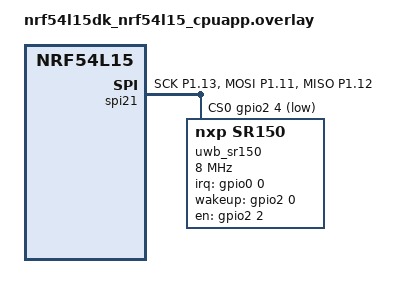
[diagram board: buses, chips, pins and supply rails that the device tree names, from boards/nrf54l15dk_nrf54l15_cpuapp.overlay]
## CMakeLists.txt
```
#
# Copyright (c) 2026 Nordic Semiconductor ASA
#
# SPDX-License-Identifier: LicenseRef-Nordic-5-Clause
#
# SR150 UWB ranging demo (Controlee / Responder) on the NXP middleware port in
# drivers/uwb/nxp (Zephyr module ncs-door-lock-and-access-control).
# The NXP package must be extracted to drivers/uwb/nxp/uwbiot-top, see
# drivers/uwb/nxp/README.md.

cmake_minimum_required(VERSION 3.20.0)

find_package(Zephyr REQUIRED HINTS $ENV{ZEPHYR_BASE})
project(demo_ranging_controlee)

target_sources(app PRIVATE src/main.c)
```

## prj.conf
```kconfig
#
# Copyright (c) 2026 Nordic Semiconductor ASA
#
# SPDX-License-Identifier: LicenseRef-Nordic-5-Clause
#
# demo_ranging_controlee (Controlee / Responder): SR150 ranging demo on the NXP middleware port.

# Basic system
CONFIG_SERIAL=y
CONFIG_CONSOLE=y
CONFIG_UART_CONSOLE=y
CONFIG_ASSERT=y
CONFIG_RESET_ON_FATAL_ERROR=n
CONFIG_HEAP_MEM_POOL_SIZE=16384
CONFIG_MAIN_STACK_SIZE=8192
CONFIG_SYSTEM_WORKQUEUE_STACK_SIZE=3072
CONFIG_MPU_STACK_GUARD=y

# Logging
CONFIG_LOG=y
CONFIG_LOG_BACKEND_UART=n
CONFIG_LOG_BACKEND_RTT=y
CONFIG_USE_SEGGER_RTT=y
CONFIG_LOG_BUFFER_SIZE=4096
CONFIG_LOG_INFO_COLOR_GREEN=y

# NXP SR150 UWB middleware (drivers/uwb/nxp)
CONFIG_UWB_NXP=y
CONFIG_UWB_NXP_LOG_LEVEL=3
CONFIG_UWB_NXP_PLATFORM_LOG_LEVEL=3
```

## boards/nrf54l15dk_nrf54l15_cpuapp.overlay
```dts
/*
 * Copyright (c) 2026 Nordic Semiconductor ASA
 *
 * SPDX-License-Identifier: LicenseRef-Nordic-5-Clause
 */

&pinctrl {
	spi21_default: spi21_default {
		group1 {
			psels = <NRF_PSEL(SPIM_SCK, 1, 13)>,
				<NRF_PSEL(SPIM_MOSI, 1, 11)>,
				<NRF_PSEL(SPIM_MISO, 1, 12)>;
		};
	};

	spi21_sleep: spi21_sleep {
		group1 {
			psels = <NRF_PSEL(SPIM_SCK, 1, 13)>,
				<NRF_PSEL(SPIM_MOSI, 1, 11)>,
				<NRF_PSEL(SPIM_MISO, 1, 12)>;
			low-power-enable;
		};
	};
};

&spi21 {
	compatible = "nordic,nrf-spim";
	status = "okay";

	/* Chip select of the SR150 is entry 0 (reg = <0>) */
	cs-gpios = <&gpio2 4 GPIO_ACTIVE_LOW>;
	pinctrl-0 = <&spi21_default>;
	pinctrl-1 = <&spi21_sleep>;
	pinctrl-names = "default", "sleep";

	uwb_sr150: uwb-sr150@0 {
		compatible = "nxp,sr150";
		reg = <0>;
		spi-max-frequency = <DT_FREQ_M(8)>;
		spi-cs-setup-delay-ns = <1000>;
		spi-cs-hold-delay-ns = <1000>;
		irq-gpios = <&gpio0 0 GPIO_ACTIVE_HIGH>;
		wakeup-gpios = <&gpio2 0 GPIO_ACTIVE_HIGH>;
		en-gpios = <&gpio2 2 GPIO_ACTIVE_HIGH>;
		status = "okay";
	};
};

/* P1.13 is the SPI clock */
&button0 {
	status = "disabled";
};

&gpio0 {
	status = "okay";
};

&gpio2 {
	status = "okay";
};
```

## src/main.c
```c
/*
 * Copyright (c) 2026 Nordic Semiconductor ASA
 *
 * SPDX-License-Identifier: LicenseRef-Nordic-5-Clause
 *
 * demo_ranging_controlee: Controlee / Responder, Static STS two-way ranging (DS-TWR, unicast)
 * with the SR150, built on the NXP middleware port in drivers/uwb/nxp.
 * Short MAC addresses: this device 0x2222, peer 0x1111.
 */

#include <zephyr/kernel.h>
#include <zephyr/logging/log.h>

/* NXP UWB IoT middleware, see drivers/uwb/nxp */
#include "UwbApi.h"
#include "UwbApi_Types.h"
#include "PrintUtility.h"
#include "uwb_types.h"
#include "uci_defs.h"
#include "nxAntennaDefine.h"

LOG_MODULE_REGISTER(demo_ranging_controlee, CONFIG_UWB_NXP_LOG_LEVEL);

#define SESSION_ID 0x11223344

static const uint8_t device_mac_addr[2] = {0x22, 0x22};
static const uint8_t dst_mac_addr[2]    = {0x11, 0x11};

static void ranging_callback(eNotificationType type, void *data)
{
	if (type != UWBD_RANGING_DATA) {
		return;
	}

	phRangingData_t *r = (phRangingData_t *)data;

	LOG_INF("RngData: seq=%u session=0x%08X int=%ums meas=%u", r->seq_ctr, r->sessionHandle,
		r->curr_range_interval, r->no_of_measurements);
	for (uint32_t i = 0; i < r->no_of_measurements && i < MAX_NUM_RESPONDERS; i++) {
		phRangingMesr_t *m = &r->ranging_meas.range_meas_twr[i];

		LOG_INF("  [%u] mac=%02X%02X status=0x%02X nLos=%u dist=%ucm "
			"az=%d.%03ddeg azFOM=%u el=%d.%03ddeg elFOM=%u slot=%u rssi=%d.%d",
			i, m->mac_addr[0], m->mac_addr[1], m->status, m->nLos, m->distance,
			TO_Q_9_7(m->aoa_azimuth), m->aoa_azimuth_FOM, TO_Q_9_7(m->aoa_elevation),
			m->aoa_elevation_FOM, m->slot_index, TO_Q_7_1(m->rssi));
	}
}

int main(void)
{
	tUWBAPI_STATUS status;
	phUwbDevInfo_t dev_info;
	uint32_t session_handle;

	LOG_INF("demo_ranging_controlee starting");

	/* The SR150 firmware image comes from the NXP package */
	status = UwbApi_Init(ranging_callback);
	if (status != UWBAPI_STATUS_OK) {
		LOG_ERR("UwbApi_Init failed: %d", status);
		return -1;
	}

	/* RF_CLK_ACCURACY_CALIB: number of registers (0x03) + CAP1, CAP2, GM CURRENT CONTROL (2 B LE each) */
	uint8_t calib_value[] = {
		0x03,
		AD_U16_TO_AU8_LE(15),
		AD_U16_TO_AU8_LE(15),
		AD_U16_TO_AU8_LE(0x21),
	};

	status = UwbApi_SetCalibration(CH_9, RF_CLK_ACCURACY_CALIB, calib_value, sizeof(calib_value));
	if (status != UWBAPI_STATUS_OK) {
		LOG_ERR("UwbApi_SetCalibration(RF_CLK_ACCURACY_CALIB) failed: %d", status);
	}

	status = UwbApi_GetDeviceInfo(&dev_info);
	if (status != UWBAPI_STATUS_OK) {
		LOG_ERR("UwbApi_GetDeviceInfo failed: %d", status);
		goto exit;
	}
	LOG_INF("UWB device: FW %u.%u.%u, MW %u.%u.%u", dev_info.fwMajor, dev_info.fwMinor,
		dev_info.fwRc, dev_info.mwMajor, dev_info.mwMinor, dev_info.mwRc);

	status = UwbApi_SessionInit(SESSION_ID, UWBD_RANGING_SESSION, &session_handle);
	if (status != UWBAPI_STATUS_OK) {
		LOG_ERR("UwbApi_SessionInit failed: %d", status);
		goto exit;
	}
	LOG_INF("Ranging session created, handle=0x%08X", session_handle);

	/* Application configuration: number of controlees and their address */
	const UWB_AppParams_List_t app_params[] = {
		UWB_SET_APP_PARAM_VALUE(UCI_PARAM_ID_NO_OF_CONTROLEES, 1),
		UWB_SET_APP_PARAM_ARRAY(UCI_PARAM_ID_DST_MAC_ADDRESS, dst_mac_addr, sizeof(dst_mac_addr)),
	};

	status = UwbApi_SetAppConfigMultipleParams(session_handle, ARRAY_SIZE(app_params), app_params);
	if (status != UWBAPI_STATUS_OK) {
		LOG_ERR("SetAppConfigMultipleParams failed: %d", status);
		goto deinit;
	}

	/* Ranging parameters */
	phRangingParams_t ranging_params = {0};

	ranging_params.deviceRole        = kUWB_DeviceRole_Responder;
	ranging_params.deviceType        = kUWB_DeviceType_Controlee;
	ranging_params.multiNodeMode     = kUWB_MultiNodeMode_UniCast;
	ranging_params.macAddrMode       = 0; /* short address */
	ranging_params.scheduledMode     = kUWB_ScheduledMode_TimeScheduled;
	ranging_params.rangingRoundUsage = kUWB_RangingRoundUsage_DS_TWR;
	ranging_params.deviceMacAddr[0]  = device_mac_addr[0];
	ranging_params.deviceMacAddr[1]  = device_mac_addr[1];

	status = UwbApi_SetRangingParams(session_handle, &ranging_params);
	if (status != UWBAPI_STATUS_OK) {
		LOG_ERR("SetRangingParams failed: %d", status);
		goto deinit;
	}

	/* Common application configuration (as demo_set_common_app_config() of the NXP demos) */
	const UWB_AppParams_List_t common_params[] = {
		UWB_SET_APP_PARAM_VALUE(UCI_PARAM_ID_SFD_ID, 2),
		UWB_SET_APP_PARAM_VALUE(UCI_PARAM_ID_SLOTS_PER_RR, 25),
		UWB_SET_APP_PARAM_VALUE(UCI_PARAM_ID_RANGING_DURATION, 200),
		UWB_SET_APP_PARAM_VALUE(UCI_PARAM_ID_STS_CONFIG, kUWB_StsConfig_StaticSts),
		UWB_SET_APP_PARAM_VALUE(UCI_PARAM_ID_NUMBER_OF_STS_SEGMENTS, 1),
		UWB_SET_APP_PARAM_VALUE(UCI_PARAM_ID_RFRAME_CONFIG, 3),
		UWB_SET_APP_PARAM_VALUE(UCI_PARAM_ID_CHANNEL_NUMBER, CH_9),
	};

	status = UwbApi_SetAppConfigMultipleParams(session_handle, ARRAY_SIZE(common_params),
						   common_params);
	if (status != UWBAPI_STATUS_OK) {
		LOG_ERR("SetCommonAppConfig failed: %d", status);
		goto deinit;
	}

	/* Vendor antenna configuration: AoA mode, one antenna pair */
	uint8_t antennae_configuration_rx[] = {kUWBAntCfgRxMode_AoA_Mode, 0x01, 1};
	const UWB_VendorAppParams_List_t vendor_params[] = {
		UWB_SET_VENDOR_APP_PARAM_ARRAY(ANTENNAE_CONFIGURATION_RX, antennae_configuration_rx,
					       sizeof(antennae_configuration_rx)),
	};

	status = UwbApi_SetVendorAppConfigs(session_handle, ARRAY_SIZE(vendor_params), vendor_params);
	if (status != UWBAPI_STATUS_OK) {
		LOG_ERR("SetVendorAppConfigs failed: %d", status);
		goto deinit;
	}

	status = UwbApi_StartRangingSession(session_handle);
	if (status != UWBAPI_STATUS_OK) {
		LOG_ERR("StartRangingSession failed: %d", status);
		goto deinit;
	}
	LOG_INF("Ranging started (session ACTIVE)");

	/* Ranging results are reported by ranging_callback() */
	return 0;

deinit:
	UwbApi_SessionDeinit(session_handle);
exit:
	UwbApi_ShutDown();
	return -1;
}
```
